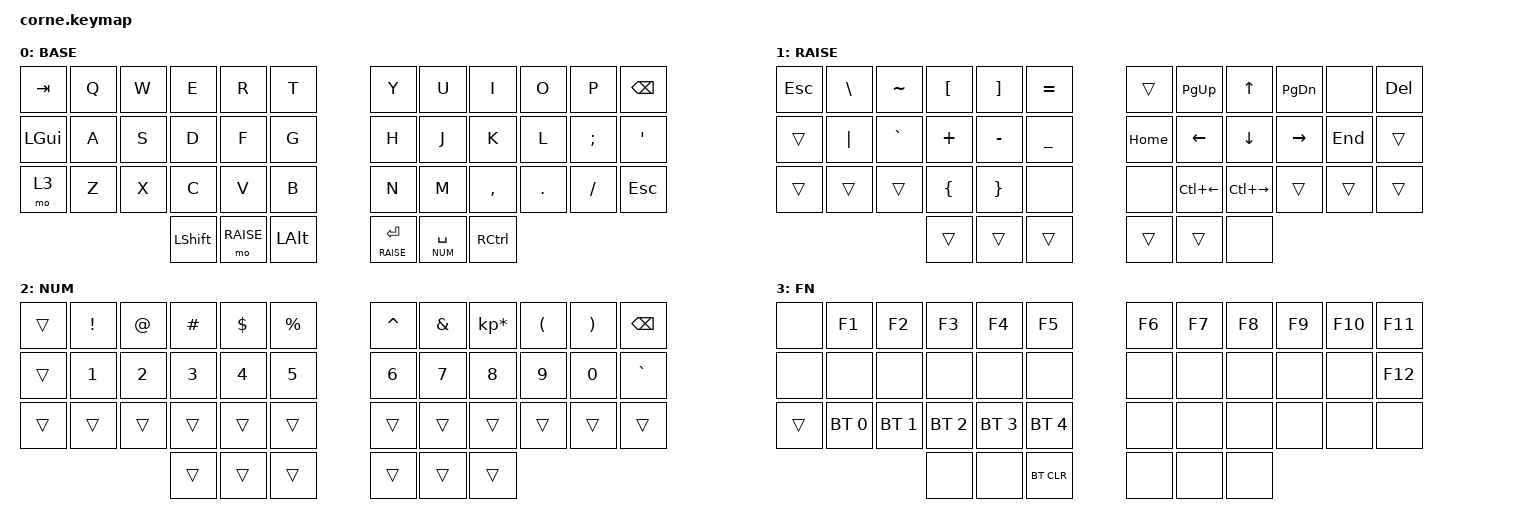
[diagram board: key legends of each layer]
/*
 * Copyright (c) 2020 The ZMK Contributors
 *
 * SPDX-License-Identifier: MIT
 */


#include <behaviors.dtsi>
#include <dt-bindings/zmk/keys.h>
#include <dt-bindings/zmk/bt.h>
#include <dt-bindings/zmk/outputs.h>
#include <dt-bindings/zmk/ext_power.h>
#include <dt-bindings/zmk/reset.h>

#define BASE 0
#define RAISE 1
#define NUM 2
#define FN 3


/ {
    keymap {
        compatible = "zmk,keymap";

        BASE_LAYER {
            display-name = "BASE";
            // -----------------------------------------------------------------------------------------
            // |  TAB |  Q  |  W  |  E  |  R  |  T  |   |  Y  |  U   |  I  |  O  |  P  | BKSP |
            // | CMD |  A  |  S  |  D  |  F  |  G  |   |  H  |  J   |  K  |  L  |  ;  |  '   |
            // |  FN  |  Z  |  X  |  C  |  V  |  B  |   |  N  |  M   |  ,  |  .  |  /  | ESC  |
            //                    | SHIFT | RAISE | OPT |   | ENTER | NUM  | CTRL |

            bindings = <
&kp TAB    &kp Q  &kp W  &kp E     &kp R  &kp T        &kp Y    &kp U  &kp I      &kp O    &kp P     &kp BSPC
&kp LGUI  &kp A  &kp S  &kp D     &kp F  &kp G        &kp H    &kp J  &kp K      &kp L    &kp SEMI  &kp SQT
&mo 3  &kp Z  &kp X  &kp C     &kp V  &kp B        &kp N    &kp M  &kp COMMA  &kp DOT  &kp FSLH  &kp ESC
                         &kp LSHIFT  &mo RAISE  &kp LALT    &lt RAISE ENTER  &lt NUM SPACE  &kp RCTRL
            >;
        };

        macos_raise_layer {
            display-name = "RAISE";
// ------------------------------------------------------------------------------------------------------------
// |  ESC  |   \  |   ~  |   [   |   ]   |   =   |                |        | PGUP |   ^   | PGDN |       | DELETE|
// |       |   |  |   `  |   +   |   -   |   _   |                |  HOME  |   <- |   v   |  ->  | END   |       |
// |       |      |      |   {   |   }   | ALTF4 |                |        |LDESK |  RDESK|      |       |       |
//                |      |       |       |       |      |  |      |        |      |       |      |
            bindings = <
&kp ESC       &kp BSLH      &kp TILDE     &kp LBKT       &kp RBKT        &kp EQUAL                                   &trans    &kp PG_UP  &kp UP    &kp PG_DN   &none    &kp DELETE
&trans       &kp PIPE      &kp GRAVE     &kp PLUS        &kp MINUS       &kp UNDER                                   &kp HOME  &kp LEFT   &kp DOWN  &kp RIGHT   &kp END   &trans
&trans       &trans        &trans        &kp LBRC        &kp RBRC        &none         &none         &kp LC(LEFT)     &kp LC(RIGHT)   &trans    &trans    &trans
                                      &trans    &trans     &trans        &trans  &trans    &none
            >;
        };

        num_layer {
            display-name = "NUM";
            // -----------------------------------------------------------------------------------------
            // |      |  !  |  @  |  #  |  $  |  %  |   |  ^  |  &  |  *  |  (  |  )  |      |
            // |      |  1  |  2  |  3  |  4  |  5  |   |  6  |  7  |  8  |  9  |  0  |      |
            // |      |     |     |     |     |     |   |     |     |     |     |     |      |
            //                    |     |     |     |   |     |     |     |

            bindings = <
&trans    &kp EXCL  &kp AT  &kp HASH   &kp DLLR  &kp PRCNT    &kp CARET  &kp AMPS   &kp KP_MULTIPLY  &kp LPAR  &kp RPAR  &kp BSPC
&trans   &kp N1    &kp N2  &kp N3  &kp N4    &kp N5    &kp N6  &kp N7  &kp N8         &kp N9  &kp N0  &kp GRAVE
&trans  &trans    &trans  &trans     &trans    &trans       &trans  &trans   &trans         &trans  &trans  &trans
                             &trans   &trans    &trans    &trans    &trans     &trans
            >;
        };

    fn_layer {
            display-name = "FN";
// ------------------------------------------------------------------------------------------------------------
// |       |  F1 |  F2 |  F3  |  F4  |  F5  |                   |  F6  |  F7   |  F8   |  F9  |  F10  |  F11  |
// |       |  p1 |  p2 |  p3  |  p4  |  p5  |                   |      |       |       |      |       |  F12  |
// |       |  bt0|  bt1|  bt2 |  bt3 |  bt4 |                   |      |       |       |      |       |       |
//                            |      |      |  BTCLR  |  |      |      |       |
            bindings = <
&none  &kp F1    &kp F2    &kp F3      &kp F4    &kp F5                                           &kp F6    &kp F7   &kp F8    &kp F9    &kp F10   &kp F11
&none &none    &none    &none      &none    &none                                           &none &none  &none  &none  &none  &kp F12
&trans   &bt BT_SEL 0  &bt BT_SEL 1  &bt BT_SEL 2  &bt BT_SEL 3  &bt BT_SEL 4                    &none  &none  &none  &none  &none  &none
                    &none         &none    &bt BT_CLR             &none       &none     &none
            >;
};
};
};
